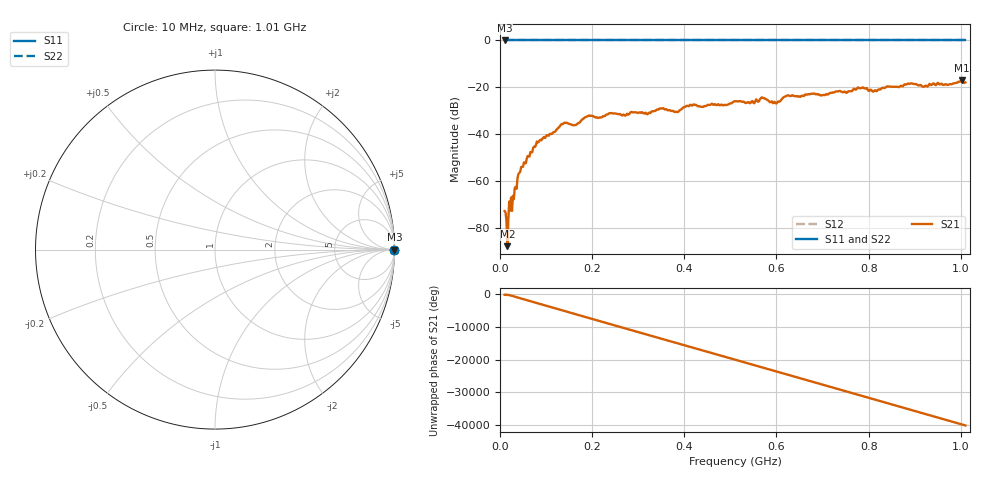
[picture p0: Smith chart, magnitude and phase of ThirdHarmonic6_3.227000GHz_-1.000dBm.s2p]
! 8/17/2025 9:52:13 AM
! C:\ANRITSUVNA\TEMP\TEMP.S2P
! CHANNEL.1
! TR.MEASUREMENT
! RAW.DATA
! RF.CORRECTION.OFF
! AVERAGING.OFF
! IF.BANDWIDTH: 5KHZ
! SWEEPTYPE:  FREQ.SWEEP(Linear)
! Reference Plane Port Info
! PORT:  PORT1  PORT2
! DISTANCE:  0  m  0  m
! TIME:  0  s  0  s
! PHASE.OFFSET:  0  deg.  0  deg.
! LOSS:  0  dB  0  dB
! REF.LOSS:  0  dB  0  dB
! REF.FREQ:  0  Hz  0  Hz
! Power Info
! POWER:  -20  dBm  -20  dBm
! EFF.POWER:  -20  dBm  -20  dBm
! SOURCE.ATTEN:  0  dB  0  dB
! TEST.ATTEN:  0  dB  0  dB
# GHZ S RI R 50.0
! FREQ.GHZ  S11RE  S11IM  S21RE  S21IM  S12RE  S12IM  S22RE  S22IM
!; PortSelection: Port_12
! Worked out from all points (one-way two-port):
!   501 points, 10 MHz to 1.01 GHz, reference 50 ohm
!   highest |S21| = -16.90 dB at 1.002 GHz (marker M1); lowest = -87.8 dB at 16 MHz (marker M2)
!   lowest |S11| = 0.0 dB at 10 MHz (marker M3)
!   |S11| at or under -10 dB: nowhere
!   |S22| runs from 0.0 to 0.0 dB; largest |S21 - S12| = 1.1
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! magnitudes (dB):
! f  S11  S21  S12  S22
! 10 MHz  0.0  -72.9  0.0  0.0
! 16 MHz  0.0  -87.8  0.0  0.0
! 30 MHz  0.0  -67.8  0.0  0.0
! 42 MHz  0.0  -56.6  0.0  0.0
! 76 MHz  0.0  -45.5  0.0  0.0
! 136 MHz  0.0  -35.7  0.0  0.0
! 162 MHz  0.0  -36.2  0.0  0.0
! 178 MHz  0.0  -33.7  0.0  0.0
! 194 MHz  0.0  -32.0  0.0  0.0
! 344 MHz  0.0  -29.5  0.0  0.0
! 382 MHz  0.0  -30.4  0.0  0.0
! 416 MHz  0.0  -27.8  0.0  0.0
! 510 MHz  0.0  -26.0  0.0  0.0
! 570 MHz  0.0  -24.5  0.0  0.0
! 596 MHz  0.0  -26.2  0.0  0.0
! 622 MHz  0.0  -23.7  0.0  0.0
! 678 MHz  0.0  -22.8  0.0  0.0
! 780 MHz  0.0  -20.3  0.0  0.0
! 814 MHz  0.0  -21.2  0.0  0.0
! 844 MHz  0.0  -19.7  0.0  0.0
! 1.002 GHz  0.0  -16.9  0.0  0.0
! 1.01 GHz  0.0  -17.9  0.0  0.0
